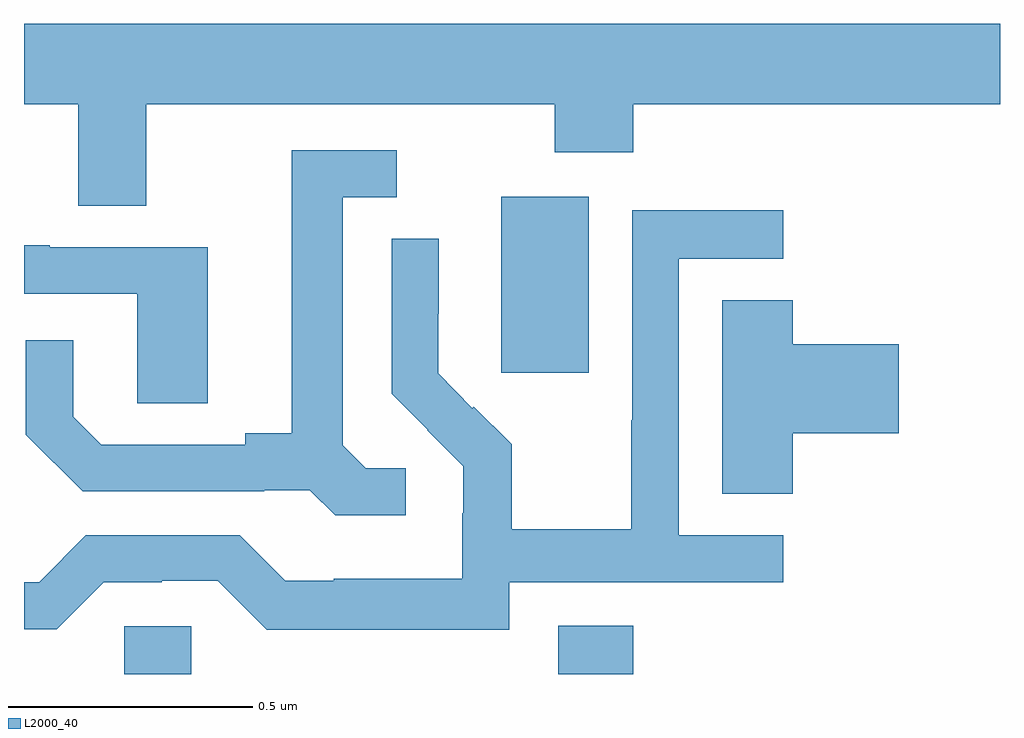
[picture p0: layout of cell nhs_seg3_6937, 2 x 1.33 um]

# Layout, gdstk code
import gdstk
lib = gdstk.Library(unit=1e-6, precision=1e-09)
def R(c, l, rs):  # rectangles x0, y0, x1, y1
    for r in rs: c.add(gdstk.rectangle(r[:2], r[2:], *l))
def P(c, l, *ps):  # polygons
    for p in ps: c.add(gdstk.Polygon(p, *l))
L2000_40 = (2000, 40)

nhs_seg3_6937 = lib.new_cell('nhs_seg3_6937')
R(nhs_seg3_6937, L2000_40, [(197.205,714.4,197.343,714.498), (198.095,714.4,198.248,714.499), (197.978,715.017,198.157,715.378)])
P(nhs_seg3_6937, L2000_40, [(197.251,715.568),(198.088,715.568),(198.088,715.469),(198.248,715.469),(198.248,715.568),(199,715.568),(199,715.732),(197,715.732),(197,715.568),(197.111,715.568),(197.111,715.36),(197.251,715.36)],
  [(197.782,714.822),(197.7,714.822),(197.653,714.869),(197.653,715.377),(197.764,715.377),(197.764,715.473),(197.549,715.473),(197.549,714.893),(197.453,714.893),(197.453,714.87),(197.158,714.87),(197.101,714.927),(197.101,715.084),(197.004,715.084),(197.004,714.89),(197.12,714.774),(197.492,714.774),(197.492,714.777),(197.586,714.777),(197.638,714.725),(197.782,714.725)],
  [(197.994,714.588),(198.556,714.588),(198.556,714.684),(198.342,714.684),(198.342,715.251),(198.556,715.251),(198.556,715.35),(198.246,715.35),(198.246,714.92),(198.244,714.92),(198.244,714.697),(197.999,714.697),(197.999,714.871),(197.922,714.948),(197.919,714.945),(197.849,715.016),(197.849,715.138),(197.85,715.138),(197.85,715.292),(197.754,715.292),(197.754,714.974),(197.827,714.901),(197.826,714.9),(197.9,714.826),(197.9,714.729),(197.898,714.729),(197.898,714.595),(197.635,714.595),(197.635,714.591),(197.535,714.591),(197.442,714.684),(197.127,714.684),(197.031,714.588),(197,714.588),(197,714.492),(197.067,714.492),(197.163,714.588),(197.282,714.588),(197.282,714.591),(197.397,714.591),(197.497,714.491),(197.994,714.491)],
  [(197.377,715.275),(197.053,715.275),(197.053,715.279),(197,715.279),(197,715.179),(197.232,715.179),(197.232,714.955),(197.377,714.955)],
  [(198.575,714.893),(198.793,714.893),(198.793,715.076),(198.575,715.076),(198.575,715.166),(198.431,715.166),(198.431,714.769),(198.575,714.769)])

lib.write_gds('nhs_seg3_6937.gds')
